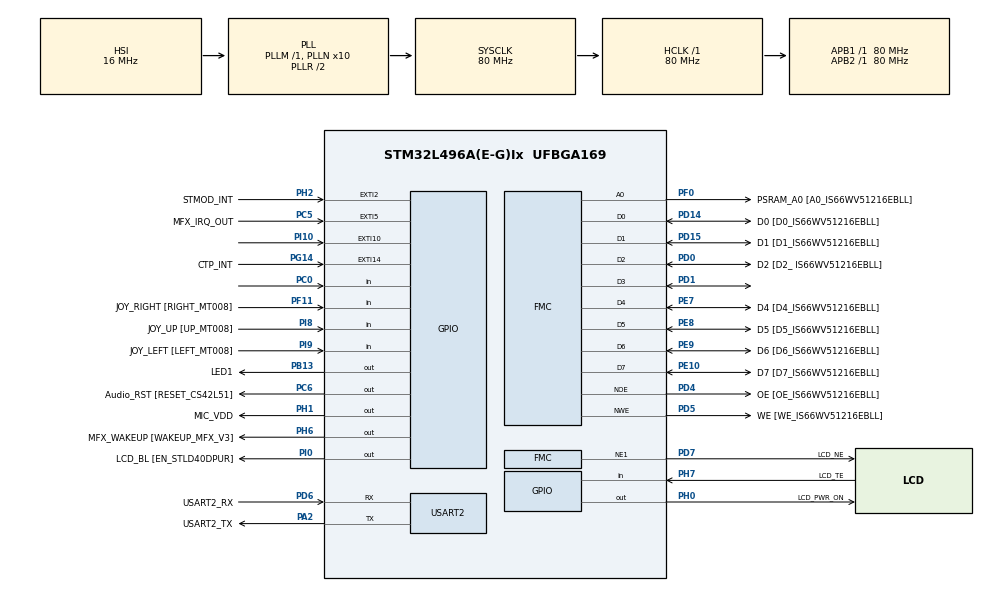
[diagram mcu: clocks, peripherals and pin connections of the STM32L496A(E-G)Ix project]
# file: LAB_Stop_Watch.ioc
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Mcu.Family=STM32L4
Mcu.Name=STM32L496A(E-G)Ix
Mcu.Package=UFBGA169
NVIC.EXTI15_10_IRQn=true\:0\:0\:false\:false\:true\:true\:true
NVIC.PriorityGroup=NVIC_PRIORITYGROUP_4
NVIC.TIM3_IRQn=true\:0\:0\:false\:false\:true\:true\:true
NVIC.USART2_IRQn=true\:0\:0\:false\:false\:true\:true\:true
PA0.GPIO_Label=STMOD_PWM
PA0.Signal=SYS_WKUP1
PA1.GPIO_Label=ARD_A4
PA1.Signal=ADCx_IN6
PA10.GPIO_Label=USB_OTGFS_ID
PA10.Signal=USB_OTG_FS_ID
PA11.GPIO_Label=USB_OTGFS_DM
PA11.Signal=USB_OTG_FS_DM
PA12.GPIO_Label=USB_OTGFS_DP
PA12.Signal=USB_OTG_FS_DP
PA13\ (JTMS/SWDIO).GPIO_Label=SWDIO
PA13\ (JTMS/SWDIO).Mode=Serial_Wire
PA13\ (JTMS/SWDIO).Signal=SYS_JTMS-SWDIO
PA14\ (JTCK/SWCLK).GPIO_Label=SWCLK
PA14\ (JTCK/SWCLK).Mode=Serial_Wire
PA14\ (JTCK/SWCLK).Signal=SYS_JTCK-SWCLK
PA15\ (JTDI).GPIO_Label=ARD_D10
PA15\ (JTDI).Signal=SPI1_NSS
PA2.GPIO_Label=USART2_TX
PA2.Mode=Asynchronous
PA2.Signal=USART2_TX
PA3.GPIO_Label=QSPI_CLK [MX25R6435FM2IL0_SCLK]
PA3.Signal=QUADSPI_CLK
PA4.GPIO_Label=STMOD_ADC
PA4.Signal=ADCx_IN9
PA5.GPIO_Label=ARD_D13
PA5.Signal=SPI1_SCK
PA6.GPIO_Label=QSPI_BK1_IO3 [MX25R6435FM2IL0_SIO3]
PA6.Signal=QUADSPI_BK1_IO3
PA7.GPIO_Label=QSPI_BK1_IO2 [MX25R6435FM2IL0_SIO2]
PA7.Signal=QUADSPI_BK1_IO2
PB0.GPIO_Label=QSPI_BK1_IO1 [MX25R6435FM2IL0_SIO1]
PB0.Signal=QUADSPI_BK1_IO1
PB1.GPIO_Label=QSPI_BK1_IO0 [MX25R6435FM2IL0_SIO0]
PB1.Signal=QUADSPI_BK1_IO0
PB10.GPIO_Label=SAI1_CKA [SLCK_CS42L51]
PB10.Signal=SAI1_SCK_A
PB11.GPIO_Label=QSPI_BK1_NCS [MX25R6435FM2IL0_CS]
PB11.Signal=QUADSPI_BK1_NCS
PB12.GPIO_Label=DFDATIN1
PB12.Signal=S_DATAIN1DFSDM1
PB13.GPIO_Label=LED1
PB13.GPIO_ModeDefaultOutputPP=GPIO_MODE_OUTPUT_PP
PB13.GPIO_PuPd=GPIO_NOPULL
PB13.Signal=GPIO_Output
PB14.GPIO_Label=I2C2_SDA [CS42L51_SDA]
PB14.Signal=I2C2_SDA
PB15.GPIO_Label=SPI2_MOSI
PB15.Signal=SPI2_MOSI
PB3\ (JTDO/TRACESWO).GPIO_Label=SWO
PB3\ (JTDO/TRACESWO).Signal=SYS_JTDO-SWO
PB4\ (NJTRST).GPIO_Label=ARD_D12
PB4\ (NJTRST).Signal=SPI1_MISO
PB5.GPIO_Label=ARD_D11
PB5.Signal=SPI1_MOSI
PB6.GPIO_Label=USART1_TX
PB6.Signal=USART1_TX
PB7.GPIO_Label=I2C1_SDA
PB7.Signal=I2C1_SDA
PB8.GPIO_Label=I2C1_SCL
PB8.Signal=I2C1_SCL
PB9.GPIO_Label=ARD_D5
PB9.Signal=S_TIM4_CH4
PC0.GPIO_PuPd=GPIO_NOPULL
PC0.Signal=GPIO_Input
PC1.Signal=ADCx_IN2
PC10.GPIO_Label=uSD_D2
PC10.Signal=SDMMC1_D2
PC11.GPIO_Label=uSD_D3
PC11.Signal=SDMMC1_D3
PC12.GPIO_Label=uSD_CLK
PC12.Signal=SDMMC1_CK
PC13.GPIO_Label=JOY_SEL [Selection_MT008]
PC13.Signal=SYS_WKUP2
PC14-OSC32_IN\ (PC14).Mode=LSE-External-Oscillator
PC14-OSC32_IN\ (PC14).Signal=RCC_OSC32_IN
PC15-OSC32_OUT\ (PC15).Mode=LSE-External-Oscillator
PC15-OSC32_OUT\ (PC15).Signal=RCC_OSC32_OUT
PC2.GPIO_Label=DF_CKOUT
PC2.Signal=S_CKOUTDFSDM1
PC3.GPIO_Label=ARD_A2
PC3.Signal=ADCx_IN4
PC4.GPIO_Label=ARD_A0
PC4.Signal=ADCx_IN13
PC5.GPIO_Label=MFX_IRQ_OUT
PC5.Signal=GPXTI5
PC6.GPIO_Label=Audio_RST [RESET_CS42L51]
PC6.Signal=GPIO_Output
PC7.GPIO_Label=DATIN3 [DOUT_MP34DT01TR]
PC7.Signal=S_DATAIN3DFSDM1
PC8.GPIO_Label=uSD_D0
PC8.Signal=SDMMC1_D0
PC9.GPIO_Label=uSD_D1
PC9.Signal=SDMMC1_D1
PD0.GPIO_Label=D2 [D2_ IS66WV51216EBLL]
PD0.Signal=FMC_D2_DA2
PD1.Signal=FMC_D3_DA3
PD10.GPIO_Label=D15 [D15_IS66WV51216EBLL]
PD10.Signal=FMC_D15_DA15
PD11.GPIO_Label=PSRAM_A16 [A16_IS66WV51216EBLL]
PD11.Signal=FMC_A16_CLE
PD12.GPIO_Label=PSRAM_A17 [A17_IS66WV51216EBLL]
PD12.Signal=FMC_A17_ALE
PD13.GPIO_Label=PSRAM_A18_LCD_RS [A18_IS66WV51216EBLL]
PD13.Signal=FMC_A18
PD14.GPIO_Label=D0 [D0_IS66WV51216EBLL]
PD14.Signal=FMC_D0_DA0
PD15.GPIO_Label=D1 [D1_IS66WV51216EBLL]
PD15.Signal=FMC_D1_DA1
PD2.GPIO_Label=uSD_CMD
PD2.Signal=SDMMC1_CMD
PD4.GPIO_Label=OE [OE_IS66WV51216EBLL]
PD4.Signal=FMC_NOE
PD5.GPIO_Label=WE [WE_IS66WV51216EBLL]
PD5.Signal=FMC_NWE
PD6.GPIO_Label=USART2_RX
PD6.Mode=Asynchronous
PD6.Signal=USART2_RX
PD7.GPIO_Label=LCD_NE
PD7.Mode=NorPsramChipSelect1_1
PD7.Signal=FMC_NE1
PD8.GPIO_Label=D13 [D13_IS66WV51216EBLL]
PD8.Signal=FMC_D13_DA13
PD9.GPIO_Label=D14 [D14_IS66WV51216EBLL]
PD9.Signal=FMC_D14_DA14
PE0.GPIO_Label=PSRAM_NBL0 [LB_IS66WV51216EBLL]
PE0.Signal=FMC_NBL0
PE1.GPIO_Label=PSRAM_NBL1 [UB_IS66WV51216EBLL]
PE1.Signal=FMC_NBL1
PE10.GPIO_Label=D7 [D7_IS66WV51216EBLL]
PE10.Signal=FMC_D7_DA7
PE11.GPIO_Label=D8  [D8_IS66WV51216EBLL]
PE11.Signal=FMC_D8_DA8
PE12.GPIO_Label=D9 [D9_IS66WV51216EBLL]
PE12.Signal=FMC_D9_DA9
PE13.GPIO_Label=D10 [D10_IS66WV51216EBLL]
PE13.Signal=FMC_D10_DA10
PE14.GPIO_Label=D11 [D11_IS66WV51216EBLL]
PE14.Signal=FMC_D11_DA11
PE15.GPIO_Label=D12 [D12_IS66WV51216EBLL]
PE15.Signal=FMC_D12_DA12
PE2.GPIO_Label=SAI1_MCKA [MCLK_CS42L51]
PE2.Signal=SAI1_MCLK_A
PE3.GPIO_Label=SAI1_SDB [SDOUT_CS42L51]
PE3.Signal=SAI1_SD_B
PE4.GPIO_Label=SAI1_FSA [LRCK_CS42L51]]
PE4.Signal=SAI1_FS_A
PE5.GPIO_Label=DCMI_D6
PE5.Signal=DCMI_D6
PE6.GPIO_Label=SAI1_SDA [SDIN_CS42L51]
PE6.Signal=SAI1_SD_A
PE7.GPIO_Label=D4 [D4_IS66WV51216EBLL]
PE7.Signal=FMC_D4_DA4
PE8.GPIO_Label=D5 [D5_IS66WV51216EBLL]
PE8.Signal=FMC_D5_DA5
PE9.GPIO_Label=D6 [D6_IS66WV51216EBLL]
PE9.Signal=FMC_D6_DA6
PF0.GPIO_Label=PSRAM_A0 [A0_IS66WV51216EBLL]
PF0.Signal=FMC_A0
PF1.GPIO_Label=PSRAM_A1 [A1_IS66WV51216EBLL]
PF1.Signal=FMC_A1
PF10.GPIO_Label=ARD_A3
PF10.Signal=ADC3_IN13
PF11.GPIO_Label=JOY_RIGHT [RIGHT_MT008]
PF11.GPIO_PuPd=GPIO_PULLDOWN
PF11.Signal=GPIO_Input
PF12.GPIO_Label=PSRAM_A6 [A6_IS66WV51216EBLL]
PF12.Signal=FMC_A6
PF13.GPIO_Label=PSRAM_A7 [A7_IS66WV51216EBLL]
PF13.Signal=FMC_A7
PF14.GPIO_Label=PSRAM_A8 [A8_IS66WV51216EBLL]
PF14.Signal=FMC_A8
PF15.GPIO_Label=PSRAM_A9 [A9_IS66WV51216EBLL]
PF15.Signal=FMC_A9
PF2.GPIO_Label=PSRAM_A2 [A2_IS66WV51216EBLL]
PF2.Signal=FMC_A2
PF3.GPIO_Label=PSRAM_A3 [A3_IS66WV51216EBLL]
PF3.Signal=FMC_A3
PF4.GPIO_Label=PSRAM_A4 [A4_IS66WV51216EBLL]
PF4.Signal=FMC_A4
PF5.GPIO_Label=PSRAM_A5 [A5_IS66WV51216EBLL]
PF5.Signal=FMC_A5
PG0.GPIO_Label=PSRAM_A10 [A10_IS66WV51216EBLL]
PG0.Signal=FMC_A10
PG1.GPIO_Label=PSRAM_A11 [A11_IS66WV51216EBLL]
PG1.Signal=FMC_A11
PG10.GPIO_Label=UART1_RX [STMOD+_UART]
PG10.Signal=USART1_RX
PG11.GPIO_Label=UART1_CTS [STMOD+_UART]
PG11.Signal=USART1_CTS
PG12.GPIO_Label=UART1_RTS [STMOD+_UART]
PG12.Signal=USART1_RTS
PG14.GPIO_Label=CTP_INT
PG14.Signal=GPXTI14
PG2.GPIO_Label=PSRAM_A12 [A12_IS66WV51216EBLL]
PG2.Signal=FMC_A12
PG3.GPIO_Label=PSRAM_A13 [A13_IS66WV51216EBLL]
PG3.Signal=FMC_A13
PG4.GPIO_Label=PSRAM_A14 [A14_IS66WV51216EBLL]
PG4.Signal=FMC_A14
PG5.GPIO_Label=PSRAM_A15 [A15_IS66WV51216EBLL]
PG5.Signal=FMC_A15
PG7.GPIO_Label=ARD_D1
PG7.Signal=LPUART1_TX
PG8.GPIO_Label=ARD_D0
PG8.Signal=LPUART1_RX
PG9.GPIO_Label=PSRAM_NE [CS1_IS66WV51216EBLL]
PG9.Signal=FMC_NE2
PH0-OSC_IN\ (PH0).GPIO_Label=LCD_PWR_ON
PH0-OSC_IN\ (PH0).Signal=GPIO_Output
PH1-OSC_OUT\ (PH1).GPIO_Label=MIC_VDD
PH1-OSC_OUT\ (PH1).Signal=GPIO_Output
PH10.GPIO_Label=DCMI_D1
PH10.Signal=DCMI_D1
PH11.GPIO_Label=DCMI_D2
PH11.Signal=DCMI_D2
PH12.GPIO_Label=DCMI_D3
PH12.Signal=DCMI_D3
PH13.GPIO_Label=ARD_D9
PH13.Signal=TIM8_CH1N
PH14.GPIO_Label=DCMI_D4
PH14.Signal=DCMI_D4
PH15.GPIO_Label=ARD_D3
PH15.Signal=TIM8_CH3N
PH2.GPIO_Label=STMOD_INT
PH2.Signal=GPXTI2
PH4.GPIO_Label=I2C2_SCL [SCL_CS42L51]
PH4.Signal=I2C2_SCL
PH5.GPIO_Label=DCMI_PIXCK
PH5.Signal=DCMI_PIXCLK
PH6.GPIO_Label=MFX_WAKEUP [WAKEUP_MFX_V3]
PH6.Signal=GPIO_Output
PH7.GPIO_Label=LCD_TE
PH7.Signal=GPIO_Input
PH8.GPIO_Label=DCMI_HSYNC
PH8.Signal=DCMI_HSYNC
PH9.GPIO_Label=DCMI_D0
PH9.Signal=DCMI_D0
PI0.GPIO_Label=LCD_BL [EN_STLD40DPUR]
PI0.Signal=GPIO_Output
PI1.GPIO_Label=SPI2_CLK [STMOD+_SPI]
PI1.Signal=SPI2_SCK
PI10.GPIO_PuPd=GPIO_PULLDOWN
PI10.Signal=GPXTI10
PI2.GPIO_Label=SPI2_MISO [STMOD+_SPI]
PI2.Signal=SPI2_MISO
PI4.GPIO_Label=DCMI_D5
PI4.Signal=DCMI_D5
PI5.GPIO_Label=DCMI_VSYNC
PI5.Signal=DCMI_VSYNC
PI6.GPIO_Label=ARD_D6
PI6.Signal=S_TIM8_CH2
PI7.GPIO_Label=DCMI_D7
PI7.Signal=DCMI_D7
PI8.GPIO_Label=JOY_UP [UP_MT008]
PI8.GPIO_PuPd=GPIO_PULLDOWN
PI8.Signal=GPIO_Input
PI9.GPIO_Label=JOY_LEFT [LEFT_MT008]
PI9.GPIO_PuPd=GPIO_PULLDOWN
PI9.Signal=GPIO_Input
ProjectManager.HeapSize=0x2000
ProjectManager.StackSize=0x2000
ProjectManager.TargetToolchain=STM32CubeIDE
RCC.ADCFreq_Value=160000000
RCC.AHBFreq_Value=80000000
RCC.APB1Freq_Value=80000000
RCC.APB1TimFreq_Value=80000000
RCC.APB2Freq_Value=80000000
RCC.APB2TimFreq_Value=80000000
RCC.CortexFreq_Value=80000000
RCC.HCLKFreq_Value=80000000
RCC.HSE_VALUE=8000000
RCC.HSI48_VALUE=48000000
RCC.HSI_VALUE=16000000
RCC.MSIClockRange=RCC_MSIRANGE_9
RCC.MSI_VALUE=24000000
RCC.PLLN=10
RCC.PLLSAI1N=20
RCC.PLLSourceVirtual=RCC_PLLSOURCE_HSI
RCC.SYSCLKFreq_VALUE=80000000
RCC.SYSCLKSource=RCC_SYSCLKSOURCE_PLLCLK
RCC.USBFreq_Value=160000000
RCC.VCOOutputFreq_Value=160000000
SH.ADCx_IN13.0=ADC1_IN13
SH.ADCx_IN2.0=ADC2_IN2
SH.ADCx_IN4.0=ADC1_IN4
SH.ADCx_IN6.0=ADC2_IN6
SH.ADCx_IN9.0=ADC2_IN9
SH.FMC_A0.0=FMC_A0,A0_1
SH.FMC_A1.0=FMC_A1
SH.FMC_A10.0=FMC_A10
SH.FMC_A11.0=FMC_A11
SH.FMC_A12.0=FMC_A12
SH.FMC_A13.0=FMC_A13
SH.FMC_A14.0=FMC_A14
SH.FMC_A15.0=FMC_A15
SH.FMC_A16_CLE.0=FMC_A16
SH.FMC_A17_ALE.0=FMC_A17
SH.FMC_A18.0=FMC_A18
SH.FMC_A2.0=FMC_A2
SH.FMC_A3.0=FMC_A3
SH.FMC_A4.0=FMC_A4
SH.FMC_A5.0=FMC_A5
SH.FMC_A6.0=FMC_A6
SH.FMC_A7.0=FMC_A7
SH.FMC_A8.0=FMC_A8
SH.FMC_A9.0=FMC_A9
SH.FMC_D0_DA0.0=FMC_D0,8b-d1
SH.FMC_D10_DA10.0=FMC_D10
SH.FMC_D11_DA11.0=FMC_D11
SH.FMC_D12_DA12.0=FMC_D12
SH.FMC_D13_DA13.0=FMC_D13
SH.FMC_D14_DA14.0=FMC_D14
SH.FMC_D15_DA15.0=FMC_D15
SH.FMC_D1_DA1.0=FMC_D1,8b-d1
SH.FMC_D2_DA2.0=FMC_D2,8b-d1
SH.FMC_D3_DA3.0=FMC_D3,8b-d1
SH.FMC_D4_DA4.0=FMC_D4,8b-d1
SH.FMC_D5_DA5.0=FMC_D5,8b-d1
SH.FMC_D6_DA6.0=FMC_D6,8b-d1
SH.FMC_D7_DA7.0=FMC_D7,8b-d1
SH.FMC_D8_DA8.0=FMC_D8
SH.FMC_D9_DA9.0=FMC_D9
SH.FMC_NBL0.0=FMC_NBL0
SH.FMC_NBL1.0=FMC_NBL1
SH.FMC_NOE.0=FMC_NOE,Lcd1
SH.FMC_NWE.0=FMC_NWE,Lcd1
SH.S_CKOUTDFSDM1.0=DFSDM1_CKOUT
SH.S_DATAIN1DFSDM1.0=DFSDM1_DATIN1
SH.S_DATAIN3DFSDM1.0=DFSDM1_DATIN3
SH.S_TIM4_CH4.0=TIM4_CH4
SH.S_TIM8_CH2.0=TIM8_CH2
TIM3.Period=9999
TIM3.Prescaler=79
USART2.VirtualMode-Asynchronous=VM_ASYNC
VP_TIM3_VS_ClockSourceINT.Mode=Internal
board=STM32L496G-DISCO

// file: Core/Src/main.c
/* USER CODE BEGIN Header */
/**
  ******************************************************************************
  * @file           : main.c
  * @brief          : Main program body
  ******************************************************************************
  * @attention
  *
  * <h2><center>&copy; Copyright (c) 2021 STMicroelectronics.
  * All rights reserved.</center></h2>
  *
  * This software component is licensed by ST under BSD 3-Clause license,
  * the "License"; You may not use this file except in compliance with the
  * License. You may obtain a copy of the License at:
  *                        opensource.org/licenses/BSD-3-Clause
  *
  ******************************************************************************
  */
/* USER CODE END Header */
#include "main.h"
#include "tim.h"
#include "usart.h"
#include "gpio.h"
#include "fmc.h"

/* USER CODE BEGIN Includes */
#include "stdio.h"

/* USER CODE END Includes */

/* USER CODE BEGIN PTD */
#define CLKF   1000000
#define PERIOD 10000

int timecircle = 0;
int Startflag = 0;
double timetot = 0;
char Txmsg[50] = "";
/* USER CODE END PTD */

void SystemClock_Config(void);

/* USER CODE BEGIN 0 */
void HAL_TIM_PeriodElapsedCallback(TIM_HandleTypeDef *htim)
{
	if (htim->Instance == TIM3)
	{
		timecircle++;
	}
}
void HAL_GPIO_EXTI_Callback(uint16_t GPIO_Pin)
{
	if (Startflag == 0)
	{
		HAL_TIM_Base_Start_IT(&htim3);
		HAL_GPIO_TogglePin(GPIOB, GPIO_PIN_13);
		Startflag = 1;
	}
	else
	{
		HAL_TIM_Base_Stop(&htim3);
		timetot = (double)(timecircle * PERIOD + (double)TIM3->CNT + 11) / CLKF;
		if (timetot < 0.005) return;
		sprintf(Txmsg, "Time count: %9.5f second\r\n", timetot);
		HAL_UART_Transmit_IT(&huart2, (uint8_t *)Txmsg, sizeof(Txmsg));
		timecircle = 0; Startflag = 0;
		HAL_GPIO_TogglePin(GPIOB, GPIO_PIN_13);
	}
}
/* USER CODE END 0 */

int main(void)
{

  /* MCU Configuration--------------------------------------------------------*/

  /* Reset of all peripherals, Initializes the Flash interface and the Systick. */
  HAL_Init();

  /* Configure the system clock */
  SystemClock_Config();

  /* Initialize all configured peripherals */
  MX_GPIO_Init();
  MX_TIM3_Init();
  MX_USART2_UART_Init();
  MX_FMC_Init();
  /* USER CODE BEGIN 2 */
  HAL_GPIO_WritePin(GPIOB, GPIO_PIN_13, SET);
  /* USER CODE END 2 */

  /* Infinite loop */
  while (1)
  {

  }
}

void SystemClock_Config(void)
{
  RCC_OscInitTypeDef RCC_OscInitStruct = {0};
  RCC_ClkInitTypeDef RCC_ClkInitStruct = {0};

  /** Configure the main internal regulator output voltage
  */
  if (HAL_PWREx_ControlVoltageScaling(PWR_REGULATOR_VOLTAGE_SCALE1) != HAL_OK)
  {
    Error_Handler();
  }
  /** Initializes the RCC Oscillators according to the specified parameters
  * in the RCC_OscInitTypeDef structure.
  */
  RCC_OscInitStruct.OscillatorType = RCC_OSCILLATORTYPE_HSI;
  RCC_OscInitStruct.HSIState = RCC_HSI_ON;
  RCC_OscInitStruct.HSICalibrationValue = RCC_HSICALIBRATION_DEFAULT;
  RCC_OscInitStruct.PLL.PLLState = RCC_PLL_ON;
  RCC_OscInitStruct.PLL.PLLSource = RCC_PLLSOURCE_HSI;
  RCC_OscInitStruct.PLL.PLLM = 1;
  RCC_OscInitStruct.PLL.PLLN = 10;
  RCC_OscInitStruct.PLL.PLLP = RCC_PLLP_DIV2;
  RCC_OscInitStruct.PLL.PLLQ = RCC_PLLQ_DIV2;
  RCC_OscInitStruct.PLL.PLLR = RCC_PLLR_DIV2;
  if (HAL_RCC_OscConfig(&RCC_OscInitStruct) != HAL_OK)
  {
    Error_Handler();
  }
  /** Initializes the CPU, AHB and APB buses clocks
  */
  RCC_ClkInitStruct.ClockType = RCC_CLOCKTYPE_HCLK|RCC_CLOCKTYPE_SYSCLK
                              |RCC_CLOCKTYPE_PCLK1|RCC_CLOCKTYPE_PCLK2;
  RCC_ClkInitStruct.SYSCLKSource = RCC_SYSCLKSOURCE_PLLCLK;
  RCC_ClkInitStruct.AHBCLKDivider = RCC_SYSCLK_DIV1;
  RCC_ClkInitStruct.APB1CLKDivider = RCC_HCLK_DIV1;
  RCC_ClkInitStruct.APB2CLKDivider = RCC_HCLK_DIV1;

  if (HAL_RCC_ClockConfig(&RCC_ClkInitStruct, FLASH_LATENCY_4) != HAL_OK)
  {
    Error_Handler();
  }
}

void Error_Handler(void)
{
  __disable_irq();
  while (1)
  {
  }
}

/************************ (C) COPYRIGHT STMicroelectronics *****END OF FILE****/
